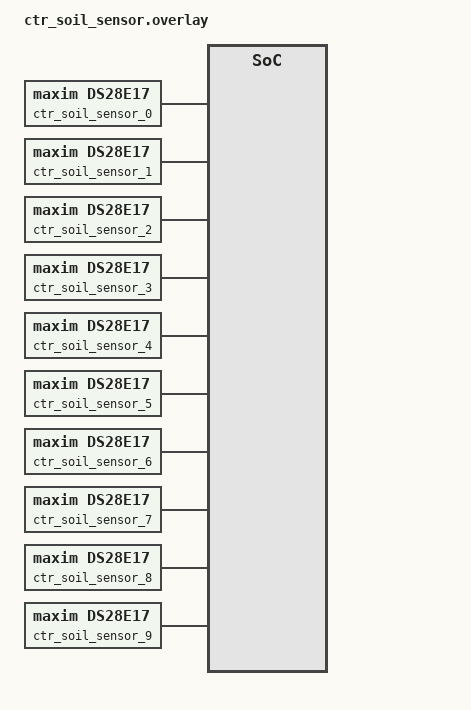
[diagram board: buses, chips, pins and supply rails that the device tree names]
/*
 * Copyright (c) 2023 HARDWARIO a.s.
 *
 * SPDX-License-Identifier: LicenseRef-HARDWARIO-5-Clause
 */

&ds2484 {
	ctr_soil_sensor_0: ctr_soil_sensor_0 {
		compatible = "maxim,ds28e17";
		family-code = <0x19>;
	};
	ctr_soil_sensor_1: ctr_soil_sensor_1 {
		compatible = "maxim,ds28e17";
		family-code = <0x19>;
	};
	ctr_soil_sensor_2: ctr_soil_sensor_2 {
		compatible = "maxim,ds28e17";
		family-code = <0x19>;
	};
	ctr_soil_sensor_3: ctr_soil_sensor_3 {
		compatible = "maxim,ds28e17";
		family-code = <0x19>;
	};
	ctr_soil_sensor_4: ctr_soil_sensor_4 {
		compatible = "maxim,ds28e17";
		family-code = <0x19>;
	};
	ctr_soil_sensor_5: ctr_soil_sensor_5 {
		compatible = "maxim,ds28e17";
		family-code = <0x19>;
	};
	ctr_soil_sensor_6: ctr_soil_sensor_6 {
		compatible = "maxim,ds28e17";
		family-code = <0x19>;
	};
	ctr_soil_sensor_7: ctr_soil_sensor_7 {
		compatible = "maxim,ds28e17";
		family-code = <0x19>;
	};
	ctr_soil_sensor_8: ctr_soil_sensor_8 {
		compatible = "maxim,ds28e17";
		family-code = <0x19>;
	};
	ctr_soil_sensor_9: ctr_soil_sensor_9 {
		compatible = "maxim,ds28e17";
		family-code = <0x19>;
	};
};
